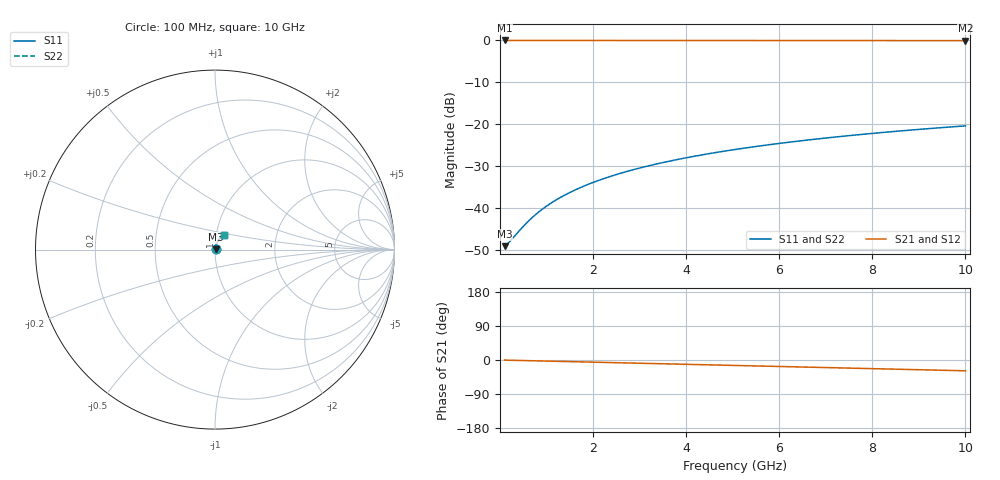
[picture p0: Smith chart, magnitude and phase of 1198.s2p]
# Hz S RI R 50.00
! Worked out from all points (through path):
!   100 points, 100 MHz to 10 GHz, reference 50 ohm
!   highest |S21| = -0.03 dB at 100 MHz (marker M1); lowest = -0.1 dB at 10 GHz (marker M2)
!   group delay of S21, straight-line fit = 7.92 ps
!   lowest |S11| = -49.0 dB at 100 MHz (marker M3), VSWR 1.01, Z = 50.3 + j0.0992 ohm
!   |S11| at or under -10 dB: start of sweep to end of sweep
!   |S22| runs from -49.0 to -20.4 dB; largest |S21 - S12| = 0
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1e8  0.0034 0.000985  0.9966 -0.00496  0.9966 -0.00496  0.0034 0.000985
2e8  0.00343 0.00197  0.9965 -0.00992  0.9965 -0.00992  0.00343 0.00197
5e8  0.00357 0.00492  0.9962 -0.0248  0.9962 -0.0248  0.00357 0.00492
6e8  0.00364 0.0059  0.9961 -0.0297  0.9961 -0.0297  0.00364 0.0059
7e8  0.00371 0.00689  0.9959 -0.0347  0.9959 -0.0347  0.00371 0.00689
9e8  0.00388 0.00885  0.9954 -0.0446  0.9954 -0.0446  0.00388 0.00885
1.1e9  0.00409 0.0108  0.9949 -0.0545  0.9949 -0.0545  0.00409 0.0108
1.3e9  0.00433 0.0128  0.9943 -0.0644  0.9943 -0.0644  0.00433 0.0128
1.5e9  0.00461 0.0147  0.9935 -0.0743  0.9935 -0.0743  0.00461 0.0147
1.8e9  0.00511 0.0176  0.9923 -0.0891  0.9923 -0.0891  0.00511 0.0176
2.1e9  0.00569 0.0205  0.9907 -0.1039  0.9907 -0.1039  0.00569 0.0205
2.5e9  0.0066 0.0243  0.9884 -0.1236  0.9884 -0.1236  0.0066 0.0243
2.9e9  0.00766 0.0281  0.9856 -0.1432  0.9856 -0.1432  0.00766 0.0281
3.4e9  0.00919 0.0328  0.9815 -0.1677  0.9815 -0.1677  0.00919 0.0328
3.8e9  0.0106 0.0365  0.9778 -0.1872  0.9778 -0.1872  0.0106 0.0365
4.2e9  0.0121 0.0401  0.9737 -0.2065  0.9737 -0.2065  0.0121 0.0401
5.1e9  0.0161 0.048  0.9631 -0.2498  0.9631 -0.2498  0.0161 0.048
5.9e9  0.0202 0.0546  0.9519 -0.2878  0.9519 -0.2878  0.0202 0.0546
6.7e9  0.0249 0.0609  0.9393 -0.3253  0.9393 -0.3253  0.0249 0.0609
7.5e9  0.03 0.0669  0.9251 -0.3622  0.9251 -0.3622  0.03 0.0669
8.4e9  0.0363 0.073  0.9073 -0.4029  0.9073 -0.4029  0.0363 0.073
1e10  0.0487 0.0825  0.8713 -0.473  0.8713 -0.473  0.0487 0.0825
